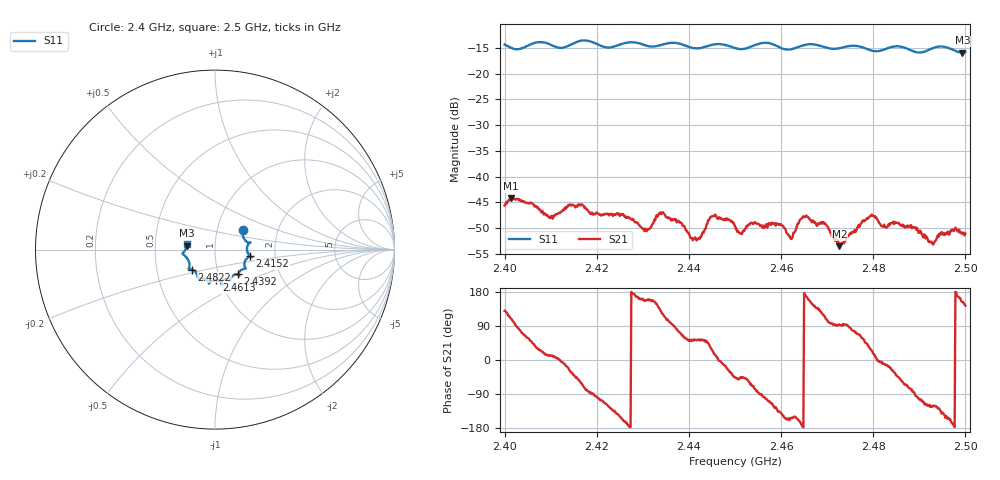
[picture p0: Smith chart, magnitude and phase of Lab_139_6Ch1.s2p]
# Hz S RI R 50
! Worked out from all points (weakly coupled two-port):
!   601 points, 2.4 GHz to 2.5 GHz, reference 50 ohm
!   highest |S21| = -44.20 dB at 2.4013 GHz (marker M1); lowest = -53.5 dB at 2.4727 GHz (marker M2)
!   lowest |S11| = -15.9 dB at 2.4993 GHz (marker M3), VSWR 1.38, Z = 36.3 + j1.6 ohm
!   |S11| at or under -10 dB: start of sweep to end of sweep
!   S12 and S22 are empty: the file has one direction only
!   S11 on the Smith chart (normalised r, x): 2.4 GHz: 1.33, +0.31; 2.4152 GHz: 1.48, -0.11; 2.4392 GHz: 1.24, -0.35; 2.4613 GHz: 0.96, -0.34; 2.4822 GHz: 0.76, -0.17; 2.5 GHz: 0.73, +0.05
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2.4e9  0.1557 0.1113  -0.00336 0.00404  0 0  0 0
2.401333e9  0.1539 0.0901  -0.00211 0.0058  0 0  0 0
2.41e9  0.1879 0.0325  0.00389 0.000802  0 0  0 0
2.415167e9  0.1952 -0.0363  0.00391 -0.00349  0 0  0 0
2.416667e9  0.2047 -0.0421  0.00253 -0.00476  0 0  0 0
2.4305e9  0.1525 -0.1107  -0.00286 0.00127  0 0  0 0
2.433333e9  0.1318 -0.132  -0.00324 0.00274  0 0  0 0
2.439167e9  0.127 -0.1377  0.00162 0.0027  0 0  0 0
2.442167e9  0.0975 -0.1468  0.00149 0.00206  0 0  0 0
2.445333e9  0.0845 -0.172  0.0039 0.00136  0 0  0 0
2.45e9  0.0689 -0.1635  0.00231 -0.00243  0 0  0 0
2.461333e9  0.00749 -0.1708  -0.0026 -0.00106  0 0  0 0
2.465e9  -0.0324 -0.1862  -0.00403 0.000253  0 0  0 0
2.466667e9  -0.0334 -0.1901  -0.00309 0.00188  0 0  0 0
2.472667e9  -0.0737 -0.1603  -9.39e-05 0.00212  0 0  0 0
2.4795e9  -0.1034 -0.1323  0.00372 0.00189  0 0  0 0
2.482167e9  -0.1282 -0.1118  0.00323 -0.000546  0 0  0 0
2.483333e9  -0.1395 -0.1104  0.00329 -0.00106  0 0  0 0
2.489e9  -0.1424 -0.0791  8.08e-05 -0.0032  0 0  0 0
2.492833e9  -0.1738 -0.0287  -0.00123 -0.00188  0 0  0 0
2.499333e9  -0.1586 0.0215  -0.00257 0.00129  0 0  0 0
2.5e9  -0.1582 0.0337  -0.00227 0.00166  0 0  0 0
